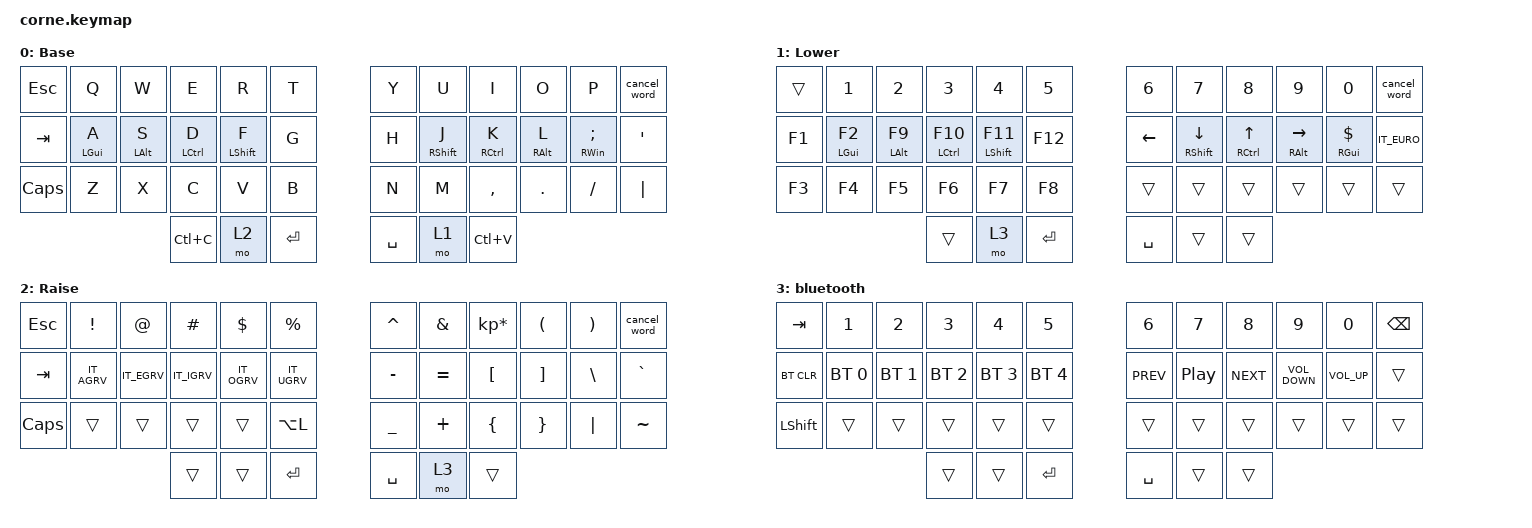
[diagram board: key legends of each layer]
/*
 * Copyright (c) 2020 The ZMK Contributors
 *
 * SPDX-License-Identifier: MIT
 */

#include "keys_it.h"
#include <behaviors.dtsi>
#include <dt-bindings/zmk/bt.h>
#include <dt-bindings/zmk/keys.h>

/ {
    combos { compatible = "zmk,combos"; };

    behaviors {
        HM: HM {
            compatible = "zmk,behavior-hold-tap";
            label = "HM";
            bindings = <&kp>, <&kp>;

            #binding-cells = <2>;
            tapping-term-ms = <250>;
            quick-tap-ms = <175>;
            flavor = "tap-preferred";
            hold-trigger-on-release;
        };

        cancel_word: cancel_word {
            compatible = "zmk,behavior-tap-dance";
            label = "CANCEL_WORD";
            #binding-cells = <0>;
            bindings = <&kp BACKSPACE>, <&kp LC(BACKSPACE)>;
        };
    };

    keymap {
        compatible = "zmk,keymap";

        default_layer {
            // -----------------------------------------------------------------------------------------
            // |  TAB |  Q  |  W  |  E  |  R  |  T  |   |  Y  |  U   |  I  |  O  |  P  | BKSP |
            // | CTRL |  A  |  S  |  D  |  F  |  G  |   |  H  |  J   |  K  |  L  |  ;  |  '   |
            // | SHFT |  Z  |  X  |  C  |  V  |  B  |   |  N  |  M   |  ,  |  .  |  /  | ESC  |
            //                    | GUI | LWR | SPC |   | ENT | RSE  | ALT |

            display-name = "Base";
            bindings = <
&kp ESC   &kp Q       &kp W           &kp E        &kp R             &kp T        &kp Y      &kp U              &kp I        &kp O            &kp P               &cancel_word
&kp TAB   &HM LGUI A  &HM LEFT_ALT S  &HM LCTRL D  &HM LEFT_SHIFT F  &kp G        &kp H      &HM RIGHT_SHIFT J  &HM RCTRL K  &HM RIGHT_ALT L  &HM RIGHT_WIN SEMI  &kp SQT
&kp CAPS  &kp Z       &kp X           &kp C        &kp V             &kp B        &kp N      &kp M              &kp COMMA    &kp DOT          &kp FSLH            &kp PIPE
                                      &kp LC(C)    &mo 2             &kp ENTER    &kp SPACE  &mo 1              &kp LC(V)
            >;
        };

        lower_layer {
            // -----------------------------------------------------------------------------------------
            // |  TAB |  1  |  2  |  3  |  4  |  5  |   |  6  |  7  |  8  |  9  |  0  | BKSP |
            // | BTCLR| BT1 | BT2 | BT3 | BT4 | BT5 |   | LFT | DWN |  UP | RGT |     |      |
            // | SHFT |     |     |     |     |     |   |     |     |     |     |     |      |
            //                    | GUI |     | SPC |   | ENT |     | ALT |

            display-name = "Lower";
            bindings = <
&trans  &kp N1       &kp N2           &kp N3         &kp N4          &kp N5       &kp N6     &kp N7          &kp N8        &kp N9          &kp N0           &cancel_word
&kp F1  &HM LGUI F2  &HM LEFT_ALT F9  &HM LCTRL F10  &HM LSHIFT F11  &kp F12      &kp LEFT   &HM RSHFT DOWN  &HM RCTRL UP  &HM RALT RIGHT  &HM RGUI DOLLAR  &kp IT_EURO
&kp F3  &kp F4       &kp F5           &kp F6         &kp F7          &kp F8       &trans     &trans          &trans        &trans          &trans           &trans
                                      &trans         &mo 3           &kp ENTER    &kp SPACE  &trans          &trans
            >;
        };

        raise_layer {
            // -----------------------------------------------------------------------------------------
            // |  TAB |  !  |  @  |  #  |  $  |  %  |   |  ^  |  &  |  *  |  (  |  )  | BKSP |
            // | CTRL |     |     |     |     |     |   |  -  |  =  |  [  |  ]  |  \  |  `   |
            // | SHFT |     |     |     |     |     |   |  _  |  +  |  {  |  }  | "|" |  ~   |
            //                    | GUI |     | SPC |   | ENT |     | ALT |

            display-name = "Raise";
            bindings = <
&kp ESC   &kp EXCL     &kp AT       &kp HASH     &kp DLLR     &kp PRCNT      &kp CARET  &kp AMPS   &kp KP_MULTIPLY  &kp LPAR  &kp RPAR  &cancel_word
&kp TAB   &kp IT_AGRV  &kp IT_EGRV  &kp IT_IGRV  &kp IT_OGRV  &kp IT_UGRV    &kp MINUS  &kp EQUAL  &kp LBKT         &kp RBKT  &kp BSLH  &kp GRAVE
&kp CAPS  &trans       &trans       &trans       &trans       &kp LA(L)      &kp UNDER  &kp PLUS   &kp LBRC         &kp RBRC  &kp PIPE  &kp TILDE
                                    &trans       &trans       &kp ENTER      &kp SPACE  &mo 3      &trans
            >;
        };

        bt_layer {
            display-name = "bluetooth";
            bindings = <
&kp TAB     &kp N1        &kp N2        &kp N3        &kp N4        &kp N5          &kp N6      &kp N7            &kp N8      &kp N9             &kp N0           &kp BSPC
&bt BT_CLR  &bt BT_SEL 0  &bt BT_SEL 1  &bt BT_SEL 2  &bt BT_SEL 3  &bt BT_SEL 4    &kp C_PREV  &kp C_PLAY_PAUSE  &kp C_NEXT  &kp C_VOLUME_DOWN  &kp C_VOLUME_UP  &trans
&kp LSHFT   &trans        &trans        &trans        &trans        &trans          &trans      &trans            &trans      &trans             &trans           &trans
                                        &trans        &trans        &kp RETURN      &kp SPACE   &trans            &trans
            >;
        };

        extra_2 { status = "reserved"; };

        extra_3 { status = "reserved"; };
    };
};
